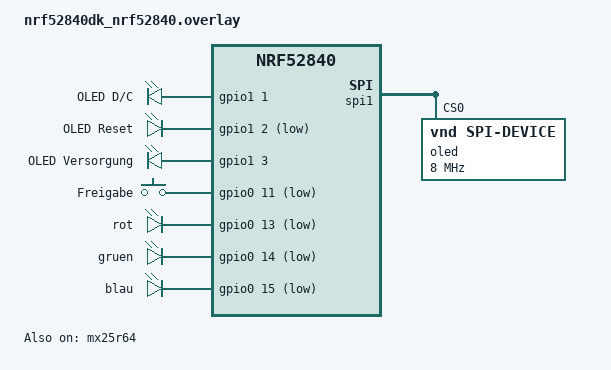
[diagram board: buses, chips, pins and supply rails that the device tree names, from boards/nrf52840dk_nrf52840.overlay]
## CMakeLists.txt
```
# Zephyr-Anwendung der Firmware. Gebaut wird sie ueber tools/build.py,
# nicht von Hand - dort kommt auch OSK_VERSION herein (siehe docs/build.md).
cmake_minimum_required(VERSION 3.20.0)

# --- Versionen: zwei Dateien, ein Name -----------------------------------
#
# Zephyr liest von sich aus eine Datei namens VERSION im Anwendungsordner
# und erwartet darin SEIN Format (VERSION_MAJOR = 0 ...). Unsere
# apps/firmware/VERSION ist die des Projekts ("0.0.1.0", siehe version.md)
# und gehoert tools/set_version.py - sie wird nicht umgeschrieben.
#
# Also schreiben wir Zephyr seine Fassung in den Bauordner und nennen ihm
# beide Dateien ausdruecklich. Beide Listen muessen gleich lang sein:
# Zephyr laeuft sie paarweise ab, und ein Paar ohne Partner laeuft in die
# Meldung "VERSION_MAJOR must be present" - mit leerer Klammer dahinter.
file(TO_CMAKE_PATH "$ENV{ZEPHYR_BASE}" OSK_ZEPHYR_BASE)

# Die Version wird in BEIDEN Schreibweisen gelesen: "0.0.1.0" (so steht
# sie heute da, siehe version.md) und Zephyrs "VERSION_MAJOR = 0 ...".
# Grund: Zephyr liest dieselbe Datei auch als Kconfig-Datei
# (Kconfig.zephyr, osource auf den Anwendungsordner - fest verdrahtet,
# kein Schalter davor). Welche Schreibweise im Repo gilt, entscheidet das
# Projekt; der Bau laeuft mit beiden.
file(READ ${CMAKE_CURRENT_SOURCE_DIR}/VERSION OSK_VERSION_RAW)
string(STRIP "${OSK_VERSION_RAW}" OSK_VERSION_RAW)

if(OSK_VERSION_RAW MATCHES "^([0-9]+)\.([0-9]+)\.([0-9]+)\.([0-9]+)$")
  set(OSK_V_MAJOR ${CMAKE_MATCH_1})
  set(OSK_V_MINOR ${CMAKE_MATCH_2})
  set(OSK_V_PATCH ${CMAKE_MATCH_3})
  set(OSK_V_TWEAK ${CMAKE_MATCH_4})
elseif(OSK_VERSION_RAW MATCHES "VERSION_MAJOR[ 	]*=[ 	]*([0-9]+)")
  set(OSK_V_MAJOR ${CMAKE_MATCH_1})
  string(REGEX MATCH "VERSION_MINOR[ 	]*=[ 	]*([0-9]+)" _ "${OSK_VERSION_RAW}")
  set(OSK_V_MINOR ${CMAKE_MATCH_1})
  string(REGEX MATCH "PATCHLEVEL[ 	]*=[ 	]*([0-9]+)" _ "${OSK_VERSION_RAW}")
  set(OSK_V_PATCH ${CMAKE_MATCH_1})
  string(REGEX MATCH "VERSION_TWEAK[ 	]*=[ 	]*([0-9]+)" _ "${OSK_VERSION_RAW}")
  set(OSK_V_TWEAK ${CMAKE_MATCH_1})
else()
  message(FATAL_ERROR "apps/firmware/VERSION ist in keiner der beiden Schreibweisen lesbar: '${OSK_VERSION_RAW}'")
endif()
set(OSK_VERSION_RAW "${OSK_V_MAJOR}.${OSK_V_MINOR}.${OSK_V_PATCH}.${OSK_V_TWEAK}")

set(OSK_APP_VERSION_FILE ${CMAKE_CURRENT_BINARY_DIR}/zephyr_app_version)
file(WRITE ${OSK_APP_VERSION_FILE}
     "VERSION_MAJOR = ${OSK_V_MAJOR}\nVERSION_MINOR = ${OSK_V_MINOR}\n"
     "PATCHLEVEL = ${OSK_V_PATCH}\nVERSION_TWEAK = ${OSK_V_TWEAK}\nEXTRAVERSION =\n")

# Warum CACHE, und nicht einfach set(): Das SDK leiht sich diese beiden
# Listen fuer seine EIGENE Version (NcsConfig.cmake liest nrf/VERSION) und
# raeumt sie danach mit set(VERSION_TYPE) wieder weg. Ein gewoehnliches
# set() von uns ist an dieser Stelle schon geloescht; Zephyr findet die
# Listen leer vor, leitet sie selbst her - und landet wieder bei unserer
# apps/firmware/VERSION. Ein Eintrag im Zwischenspeicher ueberlebt das
# Wegraeumen, weil set() ohne Wert nur die gewoehnliche Fassung entfernt.
# Gemessen am 24.10.2026 mit variable_watch.
set(VERSION_TYPE "KERNEL;APP" CACHE INTERNAL "Versionsarten fuer Zephyr")
set(VERSION_FILE "${OSK_ZEPHYR_BASE}/VERSION;${OSK_APP_VERSION_FILE}" CACHE INTERNAL "Versionsdateien fuer Zephyr")

# Die Weiche prueft sich selbst, statt in die Meldung von oben zu laufen.
message(STATUS "osk: VERSION_TYPE=${VERSION_TYPE}")
message(STATUS "osk: VERSION_FILE=${VERSION_FILE}")
foreach(f IN LISTS VERSION_FILE)
  if(NOT EXISTS ${f})
    message(FATAL_ERROR "Versionsdatei fehlt: ${f} (ZEPHYR_BASE=$ENV{ZEPHYR_BASE})")
  endif()
endforeach()

# --- Signierter Bootloader, zwei Plaetze, zwei Fassungen -------------------
#
# Die drei Zeilen, die apps/firmware/boot/app_update.conf und
# boot/mcuboot.conf beim Bau-Strang ANGEFORDERT haben, stehen hier. Sie
# muessen VOR find_package(Zephyr) stehen: danach ist die Aufteilung der
# Partitionen schon gelesen und ein Kind-Abbild schon eingerichtet.
#
# UNGEPRUEFT: Auf diesem Rechner ist kein nRF Connect SDK. Dieser Block ist
# geschrieben, nicht uebersetzt - siehe docs/signatur.md, "Was geprueft ist
# und was nicht".

# (1) Die feste Aufteilung der Speicher. Ohne sie legt das SDK den zweiten
#     Platz selbst ins INTERNE Flash - dann passt er nicht, und der Tresor
#     waere in Gefahr (boot/pm_static.yml sagt, warum die Reihenfolge nicht
#     verhandelbar ist).
set(PM_STATIC_YML_FILE ${CMAKE_CURRENT_SOURCE_DIR}/boot/pm_static.yml
    CACHE FILEPATH "Feste Aufteilung der Speicher" FORCE)

# (2) Die Einstellungen von MCUboot als Kind-Abbild.
#     Der Name dieser Variablen hat sich zwischen den SDK-Fassungen geaendert
#     (mcuboot_EXTRA_CONF_FILE, frueher mcuboot_OVERLAY_CONFIG). Es werden
#     beide gesetzt: die Fassung, die das SDK nicht kennt, bleibt einfach
#     liegen - eine unbekannte CMake-Variable ist kein Fehler. Verlassen darf
#     man sich darauf nicht, darum sagt der erste echte Bau, welche greift.
set(OSK_MCUBOOT_CONF ${CMAKE_CURRENT_SOURCE_DIR}/boot/mcuboot.conf)
set(mcuboot_EXTRA_CONF_FILE ${OSK_MCUBOOT_CONF} CACHE STRING "MCUboot-Einstellungen" FORCE)
set(mcuboot_OVERLAY_CONFIG ${OSK_MCUBOOT_CONF} CACHE STRING "MCUboot-Einstellungen (alt)" FORCE)

# (3) Der Pfad des MCUboot-Schluessels - von AUSSEN, nie aus dem Repo.
#
# DAS IST DIE ZEILE, DEREN FEHLEN DAS ENDE DER GANZEN ABSICHERUNG WAERE:
# Ohne CONFIG_BOOT_SIGNATURE_KEY_FILE nimmt MCUboot seinen EIGENEN
# Beispielschluessel, und der ist oeffentlich bekannt. Ein Geraet, das damit
# gebaut ist, nimmt Firmware von jedem an, der die Datei aus dem Netz laedt.
# Es gibt dafuer keine Warnung - der Bau wird gruen.
#
# Darum: kein Schluessel, kein Bau. Lieber kein Abbild als ein Abbild, das
# so aussieht wie ein unterschriebenes.
if(NOT DEFINED OSK_MCUBOOT_KEY)
  set(OSK_MCUBOOT_KEY "$ENV{OSK_MCUBOOT_KEY}")
endif()
if(OSK_MESSBAU)
  # Der Messbau ist ausdruecklich kein Abbild fuer ein Geraet (siehe weiter
  # unten: sechs Platzhalter sind dabei). Er darf darum ohne Schluessel
  # laufen - und sagt es auch.
  message(WARNING "osk: MESSBAU ohne Signaturschluessel - das Ergebnis ist eine Groesse, kein Abbild")
elseif(NOT OSK_MCUBOOT_KEY)
  message(FATAL_ERROR
    "Kein MCUboot-Signaturschluessel.\n"
    "Ohne ihn baut MCUboot mit seinem eigenen BEISPIELSCHLUESSEL, und der ist\n"
    "oeffentlich bekannt: das Geraet nimmt dann Firmware von jedem an. Der Bau\n"
    "bricht hier ab, weil er sonst gruen wuerde.\n\n"
    "Setzen (PowerShell, Pfad AUSSERHALB des Projektordners):\n"
    "  $env:OSK_MCUBOOT_KEY = \"$env:USERPROFILE\\.osk-keys\\mcuboot-ed25519.pem\"\n\n"
    "Siehe docs/signatur.md.")
else()
  get_filename_component(OSK_MCUBOOT_KEY "${OSK_MCUBOOT_KEY}" ABSOLUTE)
  if(NOT EXISTS "${OSK_MCUBOOT_KEY}")
    message(FATAL_ERROR "Der MCUboot-Schluessel steht in OSK_MCUBOOT_KEY, liegt aber nicht da: "
                        "${OSK_MCUBOOT_KEY}")
  endif()
  # Dieselbe Regel wie in tools/sign.py: nicht im Projektordner, auch nicht
  # ausdruecklich. Ein Schluessel, der einmal in einem Commit steckt, ist aus
  # der Geschichte nicht mehr herauszuholen.
  get_filename_component(OSK_REPO_ROOT ${CMAKE_CURRENT_SOURCE_DIR}/../.. ABSOLUTE)
  string(FIND "${OSK_MCUBOOT_KEY}" "${OSK_REPO_ROOT}" OSK_KEY_INSIDE)
  if(OSK_KEY_INSIDE EQUAL 0)
    message(FATAL_ERROR
      "Der MCUboot-Schluessel liegt IM Projektordner: ${OSK_MCUBOOT_KEY}\n"
      "Er gehoert ausserhalb. Verschieben, nicht nur in .gitignore eintragen -\n"
      "ignoriert ist nicht weg (tools/keyguard.py sieht beides).")
  endif()
  set(mcuboot_CONFIG_BOOT_SIGNATURE_KEY_FILE "\"${OSK_MCUBOOT_KEY}\""
      CACHE STRING "MCUboot-Signaturschluessel" FORCE)
  # Der Pfad selbst wird NICHT protokolliert: Bauprotokolle wandern in
  # Fehlerberichte, und der Pfad verraet, wo der Schluessel liegt.
  message(STATUS "osk: MCUboot-Schluessel von aussen uebernommen")
endif()

# Die Fassung (mit oder ohne RSA) gehoert in den ABBILDKOPF, nicht nur in den
# Dateinamen: ein Dateiname ist umbenannt, bevor man zweimal hinsieht. Der
# AAGUID wandert als GESCHUETZTES TLV in den MCUboot-Kopf - geschuetzt heisst,
# von der Signatur gedeckt, also nicht austauschbar, ohne die Signatur zu
# brechen. Welcher Wert gilt, entscheidet nicht diese Datei: tools/variant.py
# liest ihn aus osk_ctap_core.c, wo ihn auch der Quelltext liest. Geprueft
# wird das fertige Abbild mit
#   python tools/variant.py --check <abbild> --expect <rsa|norsa>
if(OSK_AAGUID_TLV)
  set(mcuboot_CONFIG_MCUBOOT_EXTRA_IMGTOOL_ARGS
      "--custom-tlv 0x00a1 ${OSK_AAGUID_TLV}"
      CACHE STRING "AAGUID im Abbildkopf" FORCE)
  message(STATUS "osk: AAGUID als geschuetztes TLV 0x00a1 im Abbildkopf")
endif()

find_package(Zephyr REQUIRED HINTS $ENV{ZEPHYR_BASE})
project(opensecurekey C)

# Version: build.py gibt sie als -DOSK_VERSION mit; ohne das steht hier,
# was in apps/firmware/VERSION steht, damit ein Bau von Hand nicht luegt.
if(NOT OSK_VERSION)
  set(OSK_VERSION ${OSK_VERSION_RAW})
endif()

# OSK_TARGET_DEVICE schaltet in den Quellen den Geraeteweg frei,
# OSK_CRYPTO_PSA den Krypto-Unterbau ueber PSA (statt CNG oder OpenSSL
# aus dem Pruefbau am PC).
target_compile_definitions(app PRIVATE
  OSK_TARGET_DEVICE
  OSK_CRYPTO_PSA
  OSK_VERSION="${OSK_VERSION}"
)

# Suchpfade aus dem Baum, nicht aus einer Liste von Hand: jeder Ordner
# unter src/, in dem ein Kopf liegt, kommt hinein. Eine Liste von Hand
# vergisst den naechsten Unterordner (genau wie das Dateimuster weiter
# unten), und das faellt erst am Uebersetzer auf.
file(GLOB_RECURSE OSK_HEADERS ${CMAKE_CURRENT_SOURCE_DIR}/src/*.h)
set(OSK_INCLUDE_DIRS ${CMAKE_CURRENT_SOURCE_DIR}/include)
foreach(h IN LISTS OSK_HEADERS)
  get_filename_component(d "${h}" DIRECTORY)
  list(APPEND OSK_INCLUDE_DIRS "${d}")
endforeach()
list(REMOVE_DUPLICATES OSK_INCLUDE_DIRS)
list(LENGTH OSK_INCLUDE_DIRS OSK_INCLUDE_COUNT)
message(STATUS "osk: ${OSK_INCLUDE_COUNT} Suchpfade")

target_include_directories(app PRIVATE ${OSK_INCLUDE_DIRS})

# Alle sieben Teile. Die plattformabhaengigen Dateien tragen eigene
# Weichen (#ifdef OSK_TARGET_DEVICE, _WIN32, __ZEPHYR__) und uebersetzen
# sich hier zu nichts, wenn sie nicht gemeint sind - darum wird nichts
# von Hand ausgesiebt.
# GLOB_RECURSE, nicht GLOB: Teile legen Unterordner an (etwa
# src/classes/applets/guard/). Eine Ebene allein uebersieht die - und das
# faellt nicht auf, denn der Bau wird gruen und das Abbild nur zu klein.
# Genau dann luegt die gemessene Groesse.
file(GLOB_RECURSE OSK_SOURCES
  ${CMAKE_CURRENT_SOURCE_DIR}/src/classes/*.c
  ${CMAKE_CURRENT_SOURCE_DIR}/src/views/*.c
)
# Gezaehlt wird, was WIRKLICH uebersetzt wird - also samt der beiden
# Dateien direkt unter src/, die das Muster nicht fasst. Eine Zahl, die
# kleiner ist als der Bau, waere genau die irreführende Angabe, die eine
# zu kleine Groesse glaubwuerdig macht.
set(OSK_ALL_SOURCES src/main.c src/osk_mem.c ${OSK_SOURCES})
list(LENGTH OSK_ALL_SOURCES OSK_SOURCE_COUNT)
message(STATUS "osk: ${OSK_SOURCE_COUNT} Quelldateien")
# src/main.c und src/osk_mem.c liegen direkt unter src/ und damit
# ausserhalb des Musters oben - darum stehen sie in OSK_ALL_SOURCES
# ausdruecklich. osk_mem.c gehoert keinem Teil, sondern allen
# (include/osk_mem.h sagt, warum).
target_sources(app PRIVATE ${OSK_ALL_SOURCES})

# Messbau: nur mit -DOSK_MESSBAU=y. Dann kommen sechs Platzhalter dazu,
# damit der Binder durchkommt und eine Groesse herauskommt. Ohne den
# Schalter uebersetzt sich src/messbau.c zu nichts, und das Binden bricht
# an den sechs fehlenden Namen ab - so, wie es soll (src/messbau.c sagt,
# warum). Ein gewoehnlicher Bau meldet die Luecken also weiter.
if(OSK_MESSBAU)
  message(WARNING "osk: MESSBAU - sechs Platzhalter sind dabei, das Abbild gehoert in kein Geraet")
  target_compile_definitions(app PRIVATE OSK_MESSBAU)
  target_sources(app PRIVATE src/messbau.c)

  # Zwei Namen sind doppelt vergeben (osk_wipe, osk_apdu_parse - siehe
  # docs/build.md). Fuer die MESSUNG laesst der Binder das durchgehen,
  # damit eine Groesse herauskommt; behoben ist damit nichts, und welche
  # der beiden Fassungen jeweils gewinnt, ist dem Zufall der Bauordnung
  # ueberlassen. Darum NUR hier und nie im gewoehnlichen Bau.
  # zephyr_link_libraries, NICHT target_link_options(app): das letzte
  # Binden macht Zephyr selbst (Ziel zephyr_pre0), nicht die Bibliothek
  # "app". Eine Option an "app" steht in der Binde-Befehlszeile gar nicht
  # drin - gemessen am 24.10.2026.
  zephyr_link_libraries(-Wl,--allow-multiple-definition)
endif()
```

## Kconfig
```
# Eigene Einstellungen der Firmware. Zephyr liest diese Datei von selbst
# (Kconfig.zephyr sucht im Anwendungsordner nach "Kconfig"), darum steht in
# apps/firmware/CMakeLists.txt keine Zeile dafuer.
#
# Hier steht die Option, die die ZWEI FASSUNGEN der Firmware trennt. Bis
# zum 30.10.2026 war sie nirgends deklariert: der Quelltext fragte
# CONFIG_OSK_RSA an sechs Stellen ab, aber Kconfig kannte den Namen nicht -
# ein "CONFIG_OSK_RSA=y" in einer .conf-Datei haette Zephyr still verworfen
# (nur eine Warnung, siehe prj.conf) und JEDER Bau waere die Fassung ohne
# RSA geworden. Die Fassung mit RSA war damit nicht gebaut, sondern nur
# geschrieben.

mainmenu "openSecureKey"

config OSK_RSA
	bool "RSA mitbauen (zweite Firmware-Fassung)"
	default n
	help
	  Zwei Fassungen der Firmware, mit und ohne RSA. Die Option wirkt an
	  GENAU EINER Stelle im Quelltext: osk_rsa_available() antwortet ohne
	  sie immer false (src/classes/applets/osk_rsa_card.h sagt, warum).

	  Zwei Folgen, die keine Geschmacksfrage sind:

	  - Jede Fassung hat ihren EIGENEN AAGUID. FIDO verlangt, dass ein
	    AAGUID eine Fassung mit denselben Faehigkeiten bezeichnet, und die
	    Fassung mit RSA kann mehr als die ohne. Die beiden Werte stehen an
	    einer Stelle: src/classes/ctap/osk_ctap_core.c.
	  - Die Fassung gehoert in den DATEINAMEN und in den ABBILDKOPF.
	    Sonst spielt jemand die falsche auf, und das Geraet verspricht
	    Faehigkeiten, die es nicht hat. Beides macht tools/build.py,
	    geprueft wird es von tools/variant.py.

	  Nicht von Hand setzen, sondern ueber die Fassung waehlen:
	    python tools/build.py firmware --variant rsa
	    python tools/build.py firmware --variant norsa

	  Der Chip muss es ausserdem koennen: der SE051A2 kann RSA nicht, der
	  C2 kann es. "Gebaut" und "im Chip vorhanden" sind zwei Fragen, und
	  beide muessen ja sagen.

source "Kconfig.zephyr"
```

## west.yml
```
# Was die Firmware zum Bauen braucht: das nRF Connect SDK und alles, was
# daran haengt (Zephyr, PSA-Krypto, die Treiber fuer den nRF52840).
#
# Diese Datei beschreibt den Arbeitsbereich, nicht den Bau. Angelegt wird
# er einmal, ausserhalb des Repos (docs/build.md):
#
#   west init -m https://github.com/nrfconnect/sdk-nrf --mr v3.4.1 D:\ncs
#   cd D:\ncs && west update
#
# Die Firmware selbst wird dann als Anwendung in diesen Arbeitsbereich
# hineingebaut - das Repo bleibt, wo es ist.
manifest:
  version: "0.13"

  remotes:
    - name: nrfconnect
      url-base: https://github.com/nrfconnect

  projects:
    - name: sdk-nrf
      remote: nrfconnect
      revision: v3.4.1
      import: true

  self:
    path: opensecurekey
```

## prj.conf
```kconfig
# Einstellungen der Firmware fuer das nRF52840-Brett.
# Nur was die Quellen wirklich brauchen - jede Zeile, die hier steht,
# kostet Flash, und der Flash ist das Enge am nRF52840 (docs/architecture.md).

CONFIG_MAIN_STACK_SIZE=8192
CONFIG_HEAP_MEM_POOL_SIZE=16384

# Protokoll ueber die Debug-Leitung. Am Geraet spaeter aus, hier an,
# damit der erste Lauf etwas sagt.
CONFIG_LOG=y
CONFIG_LOG_MODE_MINIMAL=y
CONFIG_CONSOLE=y
CONFIG_SERIAL=y
CONFIG_UART_CONSOLE=y

# Krypto: alles ueber PSA, nichts selbst gerechnet
# (src/classes/store/osk_crypto_psa.c, src/classes/se050/se050_crypto_psa.c).
# Der eine Schalter, der die Krypto anmacht: PSA_CRYPTO ("PSA Crypto API").
# Daran haengt die Wahl des Anbieters, auf einem Nordic-ARM von selbst
# PSA_CRYPTO_PROVIDER_CUSTOM, und daran NRF_SECURITY.
#
# CONFIG_NRF_SECURITY wird NICHT gesetzt: es laesst sich nicht setzen
# (def_bool). Wer es trotzdem hinschreibt, bekommt "is assigned in a
# configuration file, but is not directly user-configurable" - gemessen
# am 24.10.2026.
#
# Und ohne PSA_CRYPTO ist der ganze Abschnitt unter "if NRF_SECURITY" gar
# nicht da: die PSA_WANT_*-Zeilen darunter werden dann still verworfen
# ("was assigned the value 'y' but got the value 'n'" - nur eine Warnung,
# kein Fehler), und der Bau scheitert erst viel spaeter am fehlenden
# psa/crypto.h. 21 verworfene Zeilen, zwei Fehler am Ende.
CONFIG_PSA_CRYPTO=y

CONFIG_PSA_WANT_ALG_SHA_1=y
CONFIG_PSA_WANT_ALG_SHA_256=y
CONFIG_PSA_WANT_ALG_SHA_512=y
CONFIG_PSA_WANT_ALG_GCM=y
CONFIG_PSA_WANT_ALG_CCM=y
CONFIG_PSA_WANT_ALG_CBC_NO_PADDING=y
CONFIG_PSA_WANT_ALG_ECB_NO_PADDING=y
CONFIG_PSA_WANT_ALG_CMAC=y
CONFIG_PSA_WANT_ALG_HMAC=y
CONFIG_PSA_WANT_ALG_HKDF=y
CONFIG_PSA_WANT_ALG_ECDSA=y
CONFIG_PSA_WANT_ALG_DETERMINISTIC_ECDSA=y
CONFIG_PSA_WANT_ALG_ECDH=y
CONFIG_PSA_WANT_ALG_PURE_EDDSA=y
CONFIG_PSA_WANT_ECC_SECP_R1_256=y
CONFIG_PSA_WANT_ECC_SECP_R1_384=y
CONFIG_PSA_WANT_ECC_SECP_K1_256=y
CONFIG_PSA_WANT_ECC_TWISTED_EDWARDS_255=y
CONFIG_PSA_WANT_ECC_MONTGOMERY_255=y
CONFIG_PSA_WANT_KEY_TYPE_AES=y
CONFIG_PSA_WANT_KEY_TYPE_ECC_KEY_PAIR_GENERATE=y
CONFIG_PSA_WANT_KEY_TYPE_ECC_KEY_PAIR_IMPORT=y
CONFIG_PSA_WANT_KEY_TYPE_ECC_KEY_PAIR_EXPORT=y
CONFIG_PSA_WANT_KEY_TYPE_ECC_KEY_PAIR_DERIVE=y
CONFIG_PSA_WANT_KEY_TYPE_ECC_PUBLIC_KEY=y
CONFIG_PSA_WANT_GENERATE_RANDOM=y

# Anzeige (SSD1306 ueber SPI) und Taster.
CONFIG_GPIO=y
CONFIG_SPI=y

# Tresor im aeusseren Flash (src/classes/store/osk_flash_qspi.c).
CONFIG_FLASH=y
CONFIG_FLASH_MAP=y
CONFIG_FLASH_PAGE_LAYOUT=y
CONFIG_NORDIC_QSPI_NOR=y
CONFIG_NORDIC_QSPI_NOR_FLASH_LAYOUT_PAGE_SIZE=4096
```

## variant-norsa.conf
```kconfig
# Fassung OHNE RSA. Eingebunden ueber: tools/build.py firmware --variant norsa
#
# Die Zeile steht hier AUSDRUECKLICH, obwohl n auch die Vorgabe der Option
# ist (apps/firmware/Kconfig). Grund: eine Fassung, die nur durch das
# Weglassen einer Zeile entsteht, ist von einem Versehen nicht zu
# unterscheiden. So steht in beiden Baudateien, welche Fassung gemeint ist,
# und tools/variant.py kann es nachlesen, statt es aus dem Fehlen zu
# schliessen.
#
# Diese Fassung bekommt den AAGUID, der auf 0x02 endet
# (src/classes/ctap/osk_ctap_core.c).
#
# UNGEPRUEFT: ohne nRF Connect SDK ist diese Fassung nicht gebaut.

CONFIG_OSK_RSA=n
```

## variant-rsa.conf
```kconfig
# Fassung MIT RSA. Eingebunden ueber: tools/build.py firmware --variant rsa
#
# Diese Fassung bekommt den AAGUID, der auf 0x01 endet
# (src/classes/ctap/osk_ctap_core.c). Welcher, entscheidet nicht diese
# Datei, sondern die Option darunter - der Quelltext liest sie.
#
# UNGEPRUEFT: ohne nRF Connect SDK ist diese Fassung nicht gebaut.

CONFIG_OSK_RSA=y

# RSA rechnet der SE050, nicht der nRF52840 - darum stehen hier keine
# PSA_WANT_ALG_RSA_*-Zeilen. Wer sie setzt, holt die Mathematik in den
# Flash, in dem der Platz fehlt, und rechnet sie am falschen Ort: der
# private Schluessel darf den Chip nie verlassen.
```

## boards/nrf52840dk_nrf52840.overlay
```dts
/* Was auf dem Entwicklungsbrett wo haengt.
 *
 * Das echte Geraet bekommt spaeter sein eigenes Brett; hier wird nur
 * verdrahtet, was die Quellen namentlich verlangen, damit die Firmware
 * uebersetzt und sich messen laesst:
 *
 *   oled, oled_dc, oled_res, oled_pwr   src/classes/ui/osk_ui_port_nrf.c
 *   osk_button, osk_led_red/green/blue  dieselbe Datei
 *   vault_partition                     src/classes/store/osk_flash_qspi.c
 *
 * Die Anzeige ist auf dem Brett nicht angeloetet - die Pins sind frei
 * gewaehlt und am Stiftfeld P1 herausgefuehrt. Taster und LEDs nehmen die,
 * die das Brett selbst hat. Nichts davon ist am Geraet geprueft.
 */

/ {
	/* Die drei Steuerleitungen der Anzeige. Eigene Knoten, weil der
	 * Treiber in diesem Projekt selbst geschrieben ist (osk_ssd1306.c)
	 * und nicht der aus Zephyr. */
	osk-display {
		compatible = "gpio-leds";

		oled_dc: dc {
			gpios = <&gpio1 1 GPIO_ACTIVE_HIGH>;
			label = "OLED D/C";
		};

		oled_res: res {
			gpios = <&gpio1 2 GPIO_ACTIVE_LOW>;
			label = "OLED Reset";
		};

		oled_pwr: pwr {
			gpios = <&gpio1 3 GPIO_ACTIVE_HIGH>;
			label = "OLED Versorgung";
		};
	};

	/* Taster und LED des Bretts: Button 1 und LED 1 bis 3. */
	osk-controls {
		compatible = "gpio-keys";

		osk_button: taster {
			gpios = <&gpio0 11 (GPIO_PULL_UP | GPIO_ACTIVE_LOW)>;
			label = "Freigabe";
		};
	};

	osk-leds {
		compatible = "gpio-leds";

		osk_led_red: rot {
			gpios = <&gpio0 13 GPIO_ACTIVE_LOW>;
			label = "rot";
		};

		osk_led_green: gruen {
			gpios = <&gpio0 14 GPIO_ACTIVE_LOW>;
			label = "gruen";
		};

		osk_led_blue: blau {
			gpios = <&gpio0 15 GPIO_ACTIVE_LOW>;
			label = "blau";
		};
	};
};

/* Die Anzeige haengt am SPI, das das Brett schon verdrahtet hat. */
&spi1 {
	status = "okay";

	oled: oled@0 {
		compatible = "vnd,spi-device";
		reg = <0>;
		spi-max-frequency = <8000000>;
	};
};

/* Der Tresor liegt im aeusseren Flash, nicht im Chip - deshalb bleiben
 * dem Abbild die rund 960 kB im Chip (docs/architecture.md). Der Platz
 * dahinter ist fuer das Ersatzabbild des Bootladers gedacht.
 */
&mx25r64 {
	status = "okay";

	partitions {
		compatible = "fixed-partitions";
		#address-cells = <1>;
		#size-cells = <1>;

		vault_partition: partition@0 {
			label = "vault";
			reg = <0x00000000 0x00400000>;
		};
	};
};
```

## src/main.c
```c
/* Einstieg der Firmware auf dem nRF52840.
 *
 * Das ist das Geruest, nicht das Geraet. Es geht beim Start EINMAL durch
 * alle sieben Teile - se050, store, ctap, applets, transport, ui, wallet -
 * und schreibt, was jeder gemeldet hat. Mehr tut es nicht: es gibt noch
 * keine Hardware, und ohne Chip kann der halbe Weg gar nicht gelingen.
 *
 * Wozu es dann gut ist: so wird jeder Teil wirklich uebersetzt UND
 * gebunden. Ein Teil, den niemand aufruft, wirft der Binder weg - und dann
 * sagt die gemessene Groesse des Abbilds nichts aus (docs/build.md).
 *
 * Was jeder Teil hier meldet, ist noch kein Urteil ueber ihn: OSK_ERR_IO
 * vom SE050 ist am Brett ohne Chip das richtige Ergebnis.
 */

#include <zephyr/kernel.h>
#include <zephyr/logging/log.h>

#include "osk_result.h"
#include "osk_se050.h"
#include "osk_commission.h"
#include "osk_store.h"
#include "osk_ctap.h"
#include "osk_transport.h"
#include "osk_ui.h"

#include "osk_applets.h"
#include "osk_ui_port.h"
#include "wallet_bip39.h"

LOG_MODULE_REGISTER(osk, LOG_LEVEL_INF);

#ifndef OSK_VERSION
#define OSK_VERSION "unbekannt"
#endif

/* Ein Schritt des Durchlaufs: Name und was er gemeldet hat. */
static void step(const char *name, osk_result_t r)
{
	if (r == OSK_OK) {
		LOG_INF("%s: ok", name);
	} else {
		LOG_WRN("%s: %s", name, osk_result_text(r));
	}
}

/* Der Taster und die Benutzerpruefung haengen am Brett. Bis es da ist,
 * meldet die Pruefung "nicht geprueft" - osk_ui_confirm() verlangt dann
 * den Tastendruck, so wie gedacht. */
static bool not_verified(void *ctx)
{
	ARG_UNUSED(ctx);
	return false;
}

/* --- Erstlauf ------------------------------------------------------------
 *
 * Als ERSTES, vor allem anderen: die Werksschluessel des Sicherheitschips
 * stehen im Klartext in NXP AN12973 Tabelle 6. Wer sie kennt, liest den
 * I2C-Verkehr zum Chip mit und kann ihn stellen - dann ist der zweite Chip
 * wertlos. Darum wird vor dem ersten Gebrauch getauscht
 * (include/osk_commission.h, docs/erstlauf.md).
 *
 * Es stand nur das Werkzeug da und niemand rief es. Hier wird es gerufen.
 * Dass es heute OSK_ERR_UNSUPPORTED meldet, ist der ehrliche Stand: der
 * Platinenhaken ist ein Platzhalter (se050_commission_platform.c). */
static osk_result_t walk_commission(void)
{
	const osk_commission_backend_t *be = NULL;
	osk_result_t r = osk_commission_platform_backend(&be);

	if (r != OSK_OK) {
		return r;
	}
	return osk_commission_run(be);
}

/* --- se050 -------------------------------------------------------------- */
static osk_result_t walk_se050(void)
{
	uint32_t curves = 0;
	uint16_t free_bytes = 0;
	osk_result_t r = osk_se050_open();

	if (r != OSK_OK) {
		return r;
	}
	r = osk_se050_curves(&curves);
	if (r == OSK_OK) {
		LOG_INF("se050: Kurven 0x%08x", curves);
		r = osk_se050_free_memory(&free_bytes);
		if (r == OSK_OK) {
			LOG_INF("se050: frei mindestens %u Byte", free_bytes);
		}
	}
	return r;
}

/* --- store -------------------------------------------------------------- */
static osk_result_t walk_store(void)
{
	uint16_t format = 0;
	size_t count = 0;
	osk_result_t r = osk_store_open();

	if (r != OSK_OK) {
		return r;
	}
	if (osk_store_format_version(&format) == OSK_OK) {
		LOG_INF("store: Format %u", format);
	}
	r = osk_store_count(0, &count);
	if (r == OSK_OK) {
		LOG_INF("store: %u Eintraege im Profil 0", (unsigned)count);
	}
	return r;
}

/* --- ctap --------------------------------------------------------------- */
static osk_result_t walk_ctap(void)
{
	size_t creds = 0;
	osk_result_t r =
	    osk_ctap_init(OSK_CTAP_EXT_HMAC_SECRET | OSK_CTAP_EXT_PRF | OSK_CTAP_EXT_LARGE_BLOB |
			  OSK_CTAP_EXT_CRED_PROTECT | OSK_CTAP_EXT_MIN_PIN);

	if (r != OSK_OK) {
		return r;
	}
	r = osk_ctap_cred_count(&creds);
	if (r == OSK_OK) {
		LOG_INF("ctap: %u Dienste", (unsigned)creds);
	}
	return r;
}

/* --- transport ---------------------------------------------------------- */
static osk_result_t walk_transport(void)
{
	/* CTAP laeuft ueber USB-HID und NFC gleich; die Chipkarte kommt
	 * ueber CCID herein. Die Zephyr-Seite dieser Wege ist noch nicht
	 * geschrieben - hier wird nur eingehaengt. */
	osk_result_t r = osk_transport_register(OSK_LINK_USB_HID, osk_ctap_handle);

	if (r != OSK_OK) {
		return r;
	}
	r = osk_transport_register(OSK_LINK_NFC, osk_ctap_handle);
	if (r != OSK_OK) {
		return r;
	}
	r = osk_transport_register(OSK_LINK_USB_CCID, osk_applets_handle);
	if (r != OSK_OK) {
		return r;
	}
	return osk_transport_enable(OSK_LINK_USB_HID, true);
}

/* --- wallet ------------------------------------------------------------- */
static osk_result_t walk_wallet(void)
{
	/* Ein Satz aus 24 Woertern pruefen reicht, um die Geldboerse mit
	 * ihrer Wortliste ins Abbild zu ziehen. Erzeugt wird hier nichts:
	 * ein echter Satz entsteht nur auf Ansage des Nutzers. */
	static const char *const known =
	    "legal winner thank year wave sausage worth useful legal winner thank year "
	    "wave sausage worth useful legal will";

	return osk_bip39_check(known);
}

int main(void)
{
	LOG_INF("opensecurekey %s - Durchlauf durch die sieben Teile", OSK_VERSION);

	step("erstlauf", walk_commission());
	step("se050", walk_se050());
	step("store", walk_store());
	step("ctap", walk_ctap());
	step("applets", osk_applets_init());
	step("transport", walk_transport());
	step("ui", osk_ui_port_nrf_start(not_verified));
	step("wallet", walk_wallet());

	osk_ui_status("status.ready");
	LOG_INF("Durchlauf beendet");

	/* Noch keine Ereignisschleife: die kommt mit den Transporten. */
	while (1) {
		k_sleep(K_SECONDS(10));
	}
	return 0;
}
```

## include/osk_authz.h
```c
/* Rechtebereiche, Zugangsschluessel, Zugangsdaten und Zeitstempel.
 *
 * NEUER VERTRAG, ENTWORFEN VON STRANG F am 29.10.2026 und dem Master
 * gemeldet. Kein vorhandener Vertrag ist dabei geaendert worden.
 *
 * Diese Schicht antwortet auf genau zwei Fragen, und sie beantwortet sie
 * vor jedem Vorgang:
 *
 *   1. WER fragt?     -> Zugangsschluessel (identitaetsbasiert, nicht Rolle)
 *   2. DARF der das?   -> Rechtebereich und Faehigkeit
 *
 * Die zweite Frage stellen heute `applets/`, `ctap/` und `store/` jeder fuer
 * sich oder gar nicht. Die erste stellt heute niemand: es gibt eine PIN, und
 * wer sie kennt, ist dasselbe wie jeder andere, der sie kennt.
 *
 * WARUM DAS EINE BAUAUFGABE IST UND KEINE FORMALIE: FIPS 140-3 verlangt ab
 * Stufe 3 **identitaetsbasierte** Authentifizierung, nicht rollenbasierte
 * (ISO/IEC 19790 Abschnitt 7.4.3). Der Unterschied ist nicht, wie streng
 * geprueft wird, sondern WAS hinterher im Protokoll steht: bei
 * rollenbasierter Pruefung steht dort "ein Verwalter", bei
 * identitaetsbasierter steht dort, welcher. Ohne das ist keine
 * Nachvollziehbarkeit moeglich und der Prueflauf nicht zu bestehen.
 * Nachtraeglich einzieht sich das nicht: jeder Vorgang muss eine Identitaet
 * mitfuehren, und das sind alle Aufrufwege.
 *
 * Umsetzung: src/classes/authz/
 * Befund zur Zeitstempel-Frage: docs/zeitstempel.md
 * Entwurf und Begruendungen: docs/rechtebereiche.md */
#ifndef OSK_AUTHZ_H
#define OSK_AUTHZ_H

#include <stdint.h>
#include <stddef.h>
#include <stdbool.h>
#include "osk_result.h"
#include "osk_se050.h"

/* --- Rechtebereiche -----------------------------------------------------
 *
 * SECHZEHN Bereiche. Ein Schluessel und ein Zugangsschluessel tragen je
 * eine Maske; gearbeitet werden darf, wo sich beide ueberschneiden.
 *
 * WARUM SIE NICHT "DOMAIN" HEISSEN, obwohl der Plan von Rechtebereichen
 * spricht und die Vorlage am Markt sie Domain nennt: das Wort ist in diesem
 * Baum schon zweimal belegt, und zwar fuer etwas voellig anderes -
 * `attest_domain` in applets/guard/osk_guard_msg.c und `domain[32]` in
 * wallet/wallet_eth.c sind Trennzeichenketten der Signatur
 * (Domain Separation), damit eine Unterschrift aus einem Zusammenhang nicht
 * in einem anderen gilt. Zwei Groessen, die gleich heissen und
 * Verschiedenes messen, ist das durchgehende Fehlermuster dieses Projekts
 * (siehe docs/plan.md Abschnitt 6, dort sechsmal aufgezaehlt). Darum
 * `realm`, und darum steht der Grund hier und nicht nur im Commit. */

#define OSK_AUTHZ_REALM_COUNT 16u

/* Maske aus (1u << n), n von 0 bis 15. Eine leere Maske heisst "nirgends",
 * nicht "ueberall" - ein nicht gesetztes Recht ist kein Recht. */
typedef uint16_t osk_realm_mask_t;

#define OSK_REALM(n)	 ((osk_realm_mask_t)(1u << (n)))
#define OSK_REALM_NONE	 ((osk_realm_mask_t)0u)
#define OSK_REALM_ALL	 ((osk_realm_mask_t)0xFFFFu)

/* --- Faehigkeiten -------------------------------------------------------
 *
 * Was ein Zugangsschluessel tun darf. Jede Faehigkeit ist ein Vorgang, den
 * man einzeln wegnehmen kann - der Dienst, der Server-Zertifikate
 * ausstellt, braucht SIGN und nichts weiter.
 *
 * Es gibt KEINE Faehigkeit "alles". Wer alle 16 Bereiche und alle
 * Faehigkeiten haben soll, bekommt sie einzeln eingetragen; eine
 * Sammelfaehigkeit wuerde beim naechsten Hinzufuegen stillschweigend
 * mitwachsen. */
typedef uint32_t osk_cap_mask_t;

#define OSK_CAP_SIGN		 ((osk_cap_mask_t)(1u << 0))  /* unterschreiben */
#define OSK_CAP_DECRYPT		 ((osk_cap_mask_t)(1u << 1))  /* entschluesseln */
#define OSK_CAP_DERIVE		 ((osk_cap_mask_t)(1u << 2))  /* ECDH, HKDF */
#define OSK_CAP_KEY_CREATE	 ((osk_cap_mask_t)(1u << 3))  /* Schluessel anlegen */
#define OSK_CAP_KEY_DELETE	 ((osk_cap_mask_t)(1u << 4))  /* Schluessel loeschen */
#define OSK_CAP_PUBLIC_READ	 ((osk_cap_mask_t)(1u << 5))  /* oeffentlichen Teil lesen */
#define OSK_CAP_COUNTER_RAISE	 ((osk_cap_mask_t)(1u << 6))  /* monotonen Zaehler hochsetzen */
#define OSK_CAP_TIMESTAMP	 ((osk_cap_mask_t)(1u << 7))  /* Zeitstempel anfordern */
#define OSK_CAP_CRED_USE	 ((osk_cap_mask_t)(1u << 8))  /* Zugangsdaten benutzen */
#define OSK_CAP_CRED_MANAGE	 ((osk_cap_mask_t)(1u << 9))  /* Zugangsdaten anlegen/loeschen */
#define OSK_CAP_AUTHZ_MANAGE	 ((osk_cap_mask_t)(1u << 10)) /* Zugangsschluessel verwalten */
#define OSK_CAP_AUDIT_READ	 ((osk_cap_mask_t)(1u << 11)) /* Geraeteprotokoll lesen */
#define OSK_CAP_RANDOM		 ((osk_cap_mask_t)(1u << 12)) /* Zufall aus dem Chip holen */
#define OSK_CAP_WRAP		 ((osk_cap_mask_t)(1u << 13)) /* Schluessel einwickeln */
#define OSK_CAP_UNWRAP		 ((osk_cap_mask_t)(1u << 14)) /* Schluessel auswickeln */
#define OSK_CAP_RESET		 ((osk_cap_mask_t)(1u << 15)) /* Werkszustand */

#define OSK_CAP_NONE		 ((osk_cap_mask_t)0u)

/* Die hoechste belegte Faehigkeit. Masken mit Bits darueber sind ein
 * Fehler des Aufrufers und werden abgewiesen, statt still mitgefuehrt zu
 * werden - sonst traegt ein Zugangsschluessel Rechte, die es noch nicht
 * gibt, und bekommt sie beim naechsten Hinzufuegen geschenkt. */
#define OSK_CAP_DEFINED		 ((osk_cap_mask_t)0xFFFFu)

/* --- Zugangsschluessel --------------------------------------------------
 *
 * Mehrere, mit je eigenen Rechten, statt eines Hauptgeheimnisses. */

#define OSK_AUTHZ_KEY_MAX   8u	/* gleichzeitig eingetragene Zugangsschluessel */
#define OSK_AUTHZ_LABEL_MAX 40u /* Name, ohne abschliessende Null */

#define OSK_AUTHZ_CHALLENGE_LEN 16u /* beide Seiten, je eine */
#define OSK_AUTHZ_PROOF_LEN	32u /* HMAC-SHA256, ungekuerzt */

/* Beschreibung eines Zugangsschluessels, so wie ihn der Verwalter sieht.
 * Das Geheimnis ist NICHT dabei: es liegt im Sicherheitschip und wird nur
 * ueber `secret` angesprochen. */
typedef struct {
	uint16_t id;		     /* vom Verwalter vergeben, 1..65535; 0 ist frei */
	char label[OSK_AUTHZ_LABEL_MAX + 1]; /* mit Null, zum Anzeigen und Protokollieren */
	osk_key_id_t secret;	     /* HMAC-Schluessel im Chip */
	osk_realm_mask_t realms;     /* wo er arbeiten darf */
	osk_cap_mask_t caps;	     /* was er tun darf */
	osk_cap_mask_t delegated;    /* was er WEITERGEBEN darf, wenn er andere anlegt */
	uint8_t max_fail;	     /* 0 heisst: nie sperren */
	bool needs_touch;	     /* Tastendruck je Vorgang */
} osk_authz_key_t;

/* Ein Platz in der Tabelle hat drei Zustaende. `osk_authz_key_info()`
 * meldet ihn, damit "gesperrt" nicht als "nicht vorhanden" erscheint - das
 * sind verschiedene Befunde, und der Verwalter muss sie unterscheiden. */
typedef enum {
	OSK_AUTHZ_FREE,	  /* Platz unbelegt */
	OSK_AUTHZ_ACTIVE, /* eingetragen und benutzbar */
	OSK_AUTHZ_LOCKED, /* zu viele Fehlversuche */
} osk_authz_state_t;

typedef struct {
	osk_authz_state_t state;
	osk_authz_key_t key;
	uint8_t fails;	    /* Fehlversuche seit dem letzten Erfolg */
	uint32_t uses;	    /* erfolgreiche Anmeldungen */
} osk_authz_key_info_t;

/* Schicht anmelden. Ohne das antwortet nichts.
 *
 * `admin_secret` ist der Chip-Schluessel des ersten Zugangsschluessels -
 * des einzigen, der beim Erstlauf existiert. Ohne ihn liesse sich kein
 * erster Verwalter eintragen, und mit einer fest eingebauten Kennung waere
 * jedes Geraet mit demselben Geheimnis zu oeffnen. */
osk_result_t osk_authz_init(osk_key_id_t admin_secret);
void osk_authz_shutdown(void);

/* --- Anmelden: zwei Schritte, und beide sind noetig --------------------
 *
 * Erst die Identitaet nennen, dann sie beweisen. Zwei Aufrufe, weil das
 * Geraet seinen eigenen Zufall beisteuern muss - sonst koennte der Rechner
 * die Herausforderung waehlen und einen alten Beweis wiederverwenden.
 *
 *   1. begin(id, host_challenge, -> device_challenge)
 *   2. der Rechner rechnet:
 *        proof_host = HMAC(K, "osk-authz-host-1" || device_challenge
 *                                               || host_challenge)
 *   3. authenticate(session, proof_host, -> proof_device)
 *        proof_device = HMAC(K, "osk-authz-dev-1" || device_challenge
 *                                                 || host_challenge)
 *
 * Der Beweis des Geraets geht zurueck, damit auch der Rechner weiss, dass
 * er mit dem richtigen Geraet spricht. Einseitig geprueft waere die Haelfte
 * der Arbeit fuer keinen Gewinn: ein untergeschobenes Geraet nimmt die
 * Anmeldung sonst widerspruchslos an.
 *
 * Die beiden Trennzeichenketten unterscheiden sich, damit der Beweis des
 * Rechners nie als Beweis des Geraets durchgeht. */

typedef uint8_t osk_authz_session_t; /* Platznummer, 0..OSK_AUTHZ_SESSION_MAX-1 */

#define OSK_AUTHZ_SESSION_MAX 4u
#define OSK_AUTHZ_NO_SESSION  ((osk_authz_session_t)0xFFu)

osk_result_t osk_authz_session_begin(uint16_t key_id,
				     const uint8_t host_challenge[OSK_AUTHZ_CHALLENGE_LEN],
				     uint8_t device_challenge_out[OSK_AUTHZ_CHALLENGE_LEN],
				     osk_authz_session_t *session_out);

osk_result_t osk_authz_session_authenticate(osk_authz_session_t session,
					    const uint8_t host_proof[OSK_AUTHZ_PROOF_LEN],
					    uint8_t device_proof_out[OSK_AUTHZ_PROOF_LEN]);

void osk_authz_session_end(osk_authz_session_t session);

/* Alle Sitzungen beenden. Beim Abziehen des Sticks und beim Sperren -
 * `docs/plan.md` verlangt sofortiges Sperren beim Abziehen, und eine
 * ueberlebende Sitzung waere genau die Luecke darin. */
void osk_authz_session_end_all(void);

/* --- Die Pruefung, auf die alles hinauslaeuft --------------------------
 *
 * Jeder Vorgang fragt hier, und zwar MIT der Sitzung. Ohne Sitzung gibt es
 * keine Antwort "erlaubt": eine Funktion, die auch ohne Identitaet etwas
 * durchlaesst, macht die ganze Schicht wertlos.
 *
 * Geprueft wird dreierlei, und alles drei muss zutreffen:
 *   - die Sitzung ist angemeldet (nicht nur begonnen),
 *   - der Zugangsschluessel hat die Faehigkeit,
 *   - seine Bereichsmaske ueberschneidet sich mit der des Gegenstands.
 *
 * Die Ueberschneidung ist der Kern der Trennung: der Dienst fuer
 * Server-Zertifikate und die Geldboerse haben keinen gemeinsamen Bereich,
 * also kommt keiner an die Schluessel des anderen - auch wenn beide SIGN
 * duerfen. Die Faehigkeit allein trennt nicht. */
osk_result_t osk_authz_check(osk_authz_session_t session, osk_cap_mask_t need,
			     osk_realm_mask_t object_realms);

/* Wer in dieser Sitzung angemeldet ist - fuer das Geraeteprotokoll.
 * Das ist der Zweck der ganzen Uebung: der Eintrag nennt einen Namen. */
osk_result_t osk_authz_session_identity(osk_authz_session_t session, uint16_t *key_id_out,
					const char **label_out);

/* --- Zugangsschluessel verwalten ---------------------------------------
 *
 * Verwalten darf nur, wer OSK_CAP_AUTHZ_MANAGE hat, und er darf nur
 * weitergeben, was in seiner `delegated`-Maske steht.
 *
 * WARUM ZWEI MASKEN: Ohne die zweite koennte jeder, der Zugangsschluessel
 * anlegen darf, sich einen zweiten mit mehr Rechten anlegen und ueber ihn
 * alles tun. Die Rechtetrennung waere dann eine Hoeflichkeit. Mit der
 * zweiten Maske ist die Rechtemenge eines neuen Schluessels hoechstens die
 * `delegated` seines Erzeugers - und `delegated` selbst kann nicht wachsen. */
osk_result_t osk_authz_key_add(osk_authz_session_t session, const osk_authz_key_t *key);
osk_result_t osk_authz_key_remove(osk_authz_session_t session, uint16_t key_id);
osk_result_t osk_authz_key_info(uint16_t key_id, osk_authz_key_info_t *info_out);
osk_result_t osk_authz_key_list(uint16_t *ids_out, size_t cap, size_t *count_out);

/* Einen gesperrten Zugangsschluessel wieder freigeben. Braucht
 * OSK_CAP_AUTHZ_MANAGE - und der Schluessel kann sich nicht selbst
 * freigeben, denn zum Anmelden muesste er schon frei sein. */
osk_result_t osk_authz_key_unlock(osk_authz_session_t session, uint16_t key_id);

/* --- Zugangsdaten im Sicherheitschip (Teil 3) --------------------------
 *
 * WOFUER: Ein Server, der seinen Schluessel nicht im Dateisystem liegen
 * lassen soll (`docs/plan.md`, "Dongle und Server (NGC)": "Knotenschluessel
 * im Chip statt auf der Platte"). Der Server haelt ein Passwort, das
 * Langzeitgeheimnis liegt im Chip, und heraus kommen nur
 * **Sitzungsschluessel**, die mit dem Abziehen des Sticks wertlos sind.
 *
 * Was den Chip verlaesst und was nicht, ausdruecklich:
 *   - Langzeitgeheimnis: NIE. Es ist ein HMAC-Schluessel im SE05x.
 *   - Sitzungsschluessel: JA, das ist ihr Zweck - der Server verschluesselt
 *     damit. Wer sie abhoert, hat sie bis zum Ende der Sitzung; wer das
 *     Geraet stiehlt, hat trotzdem kein Langzeitgeheimnis.
 *
 * Ableitung: SP 800-108 Zaehlermodus mit HMAC-SHA256 als PRF.
 *
 * ABWEICHUNG, DIE DER MASTER ENTSCHEIDEN MUSS (gemeldet am 29.10.2026): Die
 * Vorlage am Markt leitet mit AES-CMAC nach SCP03 ab. Hier steht
 * HMAC-SHA256, aus zwei Gruenden - der Vertrag `osk_se050.h` fuehrt
 * `osk_se050_hmac()`, aber kein CMAC, und diese Schicht soll kein eigenes
 * Krypto-Grundverfahren mitbringen. Folge: **fremde Programme, die das
 * Protokoll der Vorlage sprechen, passen nicht.** Fuer NGC und `osk-guard`
 * ist das ohne Belang, denn das ist unsere eigene Software auf beiden
 * Seiten. Wer Fremdverträglichkeit will, braucht CMAC im Vertrag. */

#define OSK_AUTHZ_CRED_MAX	8u
#define OSK_AUTHZ_CRED_PW_MIN	8u
#define OSK_AUTHZ_CRED_PW_MAX	64u
#define OSK_AUTHZ_SESSION_KEY_LEN 16u

typedef struct {
	uint16_t id;
	char label[OSK_AUTHZ_LABEL_MAX + 1];
	osk_key_id_t secret;	 /* Langzeitgeheimnis im Chip */
	osk_realm_mask_t realms; /* in welchen Bereichen diese Zugangsdaten gelten */
	uint8_t max_fail;
	bool needs_touch;
} osk_authz_cred_t;

/* Das Paar, das herauskommt. Zwei Schluessel, weil Verschluesseln und
 * Sichern nie derselbe sein duerfen. */
typedef struct {
	uint8_t enc[OSK_AUTHZ_SESSION_KEY_LEN];
	uint8_t mac[OSK_AUTHZ_SESSION_KEY_LEN];
} osk_authz_session_keys_t;

osk_result_t osk_authz_cred_add(osk_authz_session_t session, const osk_authz_cred_t *cred,
				const uint8_t *password, size_t pw_len);
osk_result_t osk_authz_cred_remove(osk_authz_session_t session, uint16_t cred_id);
osk_result_t osk_authz_cred_list(uint16_t *ids_out, size_t cap, size_t *count_out);
osk_result_t osk_authz_cred_tries_left(uint16_t cred_id, uint8_t *tries_out);

/* Sitzungsschluessel holen. Braucht OSK_CAP_CRED_USE und einen Bereich,
 * der sich mit dem der Zugangsdaten ueberschneidet.
 *
 * Falsches Passwort zaehlt einen Fehlversuch und sperrt bei `max_fail` -
 * darum wird das Passwort geprueft und nicht nur in die Ableitung gegeben.
 * Gaebe es nur die Ableitung, kaeme bei falschem Passwort ein falscher
 * Schluessel heraus, und der Versuch waere unbegrenzt wiederholbar. */
osk_result_t osk_authz_cred_session(osk_authz_session_t session, uint16_t cred_id,
				    const uint8_t *password, size_t pw_len,
				    const uint8_t host_challenge[OSK_AUTHZ_CHALLENGE_LEN],
				    const uint8_t device_challenge[OSK_AUTHZ_CHALLENGE_LEN],
				    osk_authz_session_keys_t *keys_out);

/* --- Zeitstempel nach RFC 3161 (Teil 4) --------------------------------
 *
 * BEFUND ZUERST, er bestimmt die Schnittstelle: Das Geraet hat keinen Akku,
 * seine Uhr wird beim Einstecken vom Rechner gestellt, und eine falsche
 * Rechneruhr setzt eine falsche Geraetezeit (`docs/architecture.md`). Ein
 * Zeitstempel aus dieser Uhr beweist genau so viel wie der Rechner, gegen
 * den er beweisen soll.
 *
 * DARUM: **Das Geraet ist Antragsteller, nie Zeitstempelstelle.** Die Zeit
 * kommt aus dem Token einer fremden Stelle. Es gibt hier mit Absicht keine
 * Funktion, die aus der Geraeteuhr einen Zeitstempel macht - haette diese
 * Schicht eine, wuerde irgendwann jemand ihr Ergebnis fuer einen Beweis
 * halten.
 *
 * Was das Geraet ohne jede fremde Stelle beweist, ist die REIHENFOLGE:
 * jede Erklaerung traegt einen monotonen Chipzaehler (Strang A), der sich
 * nicht zurueckdrehen laesst. Das ist kein Ersatz fuer eine Uhrzeit,
 * sondern eine andere, schwaecher klingende und staerker belegte Aussage.
 *
 * Ganze Begruendung samt den drei Beweisarten: docs/zeitstempel.md */

#define OSK_TSA_NONCE_LEN  16u
#define OSK_TSA_HASH_LEN   32u /* SHA-256; die Schicht hasht nicht selbst */

/* Was aus einer geprueften Antwort herauskommt. Die GenTime bleibt
 * Zeichenkette, wie sie im Token steht - sie wird nicht in eine Zahl
 * umgerechnet, damit niemand sie mit der Geraetezeit vermischt. */
#define OSK_TSA_GENTIME_MAX 24u

typedef struct {
	uint8_t nonce[OSK_TSA_NONCE_LEN];
	uint8_t hash[OSK_TSA_HASH_LEN];
	bool nonce_sent;
} osk_tsa_request_t;

typedef struct {
	char gen_time[OSK_TSA_GENTIME_MAX + 1]; /* aus dem Token der Stelle */
	bool gen_time_present;
	uint64_t counter;    /* unser monotoner Zaehlerstand */
	uint32_t device_ms;  /* Geraetezeit SEIT DEM EINSTECKEN - keine Weltzeit */
	uint16_t key_id;     /* wer es anstiess */
} osk_tsa_statement_t;

/* Eine Anfrage nach RFC 3161 Abschnitt 2.4.1 in DER bauen.
 * `hash` ist der Hash der Daten; gehasht hat der Aufrufer, wie bei
 * `osk_se050_sign()` und aus demselben Grund. */
osk_result_t osk_tsa_request_build(osk_authz_session_t session, const uint8_t hash[OSK_TSA_HASH_LEN],
				   bool with_nonce, uint8_t *der_out, size_t cap,
				   size_t *len_out, osk_tsa_request_t *req_out);

/* Eine Antwort pruefen - die FORM, nicht die Signatur.
 *
 * Geprueft werden `status`, der Aufbau, die Laengen, und dass die Nonce die
 * der Anfrage ist. Die Signatur des Tokens prueft das Verwaltungsprogramm
 * am Rechner; dafuer braeuchte die Firmware CMS und eine
 * X.509-Kettenpruefung (offener Punkt, docs/zeitstempel.md Abschnitt 6).
 * Die Funktion heisst darum `_parse` und nicht `_verify`: der Name soll
 * beim Lesen des Aufrufs nicht mehr versprechen, als er tut. */
osk_result_t osk_tsa_response_parse(const osk_tsa_request_t *req, const uint8_t *der, size_t len,
				    osk_tsa_statement_t *stmt_out, const uint8_t **token_out,
				    size_t *token_len_out);

/* Das fremde Token an dieses Geraet binden: eine eigene Erklaerung ueber
 * Datenhash, Tokenhash, Zaehlerstand und Identitaet unterschreiben.
 *
 * Ohne diesen Schritt liegen zwei Papiere nebeneinander, die nichts
 * verbindet. Braucht OSK_CAP_TIMESTAMP und OSK_CAP_SIGN. */
osk_result_t osk_tsa_countersign(osk_authz_session_t session, osk_key_id_t signing_key,
				 osk_key_id_t counter_id, const uint8_t hash[OSK_TSA_HASH_LEN],
				 const uint8_t *token, size_t token_len,
				 osk_tsa_statement_t *stmt_out, uint8_t *sig_out, size_t cap,
				 size_t *sig_len_out);

#endif
```

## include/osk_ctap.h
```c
/* FIDO2/CTAP2-Kern - transportunabhaengig. USB und NFC reichen dieselben
 * Bytes herein; die Freigabe laeuft ueber osk_ui, die Schluessel ueber den
 * SE050, abgeleitet statt einzeln gespeichert.
 *
 * Umsetzung: src/classes/ctap/ */
#ifndef OSK_CTAP_H
#define OSK_CTAP_H

#include <stdint.h>
#include <stddef.h>
#include "osk_result.h"
#include "osk_transport.h"

/* Erweiterungen, die fremde Programme von uns erwarten. */
#define OSK_CTAP_EXT_HMAC_SECRET (1u << 0) /* Bitwarden, BitLocker, LUKS */
#define OSK_CTAP_EXT_PRF (1u << 1)
#define OSK_CTAP_EXT_LARGE_BLOB (1u << 2)
#define OSK_CTAP_EXT_CRED_PROTECT (1u << 3)
#define OSK_CTAP_EXT_MIN_PIN (1u << 4)

osk_result_t osk_ctap_init(uint32_t extensions);

/* Eine vollstaendige CTAP-Nachricht bearbeiten. Der Transport hat den
 * Rahmen bereits entfernt. */
osk_result_t osk_ctap_handle(const osk_request_t *req, osk_response_t *res);

/* CTAP1/U2F fuer alte Dienste, gleiche Schluesselableitung. */
osk_result_t osk_ctap_handle_u2f(const osk_request_t *req, osk_response_t *res);

/* Zaehler fuer das Geraeteprotokoll und die Dienste-Liste im Programm. */
osk_result_t osk_ctap_cred_count(size_t *count_out);

#endif
```

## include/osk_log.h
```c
/* Geraeteprotokoll: wann ging welcher Eintrag an welches Programm.
 * Ringpuffer im Flash, ohne Geheimnisse - nur Kennung, Zeit und Anlass.
 *
 * Umsetzung: src/classes/store/ */
#ifndef OSK_LOG_H
#define OSK_LOG_H

#include <stdint.h>
#include <stddef.h>
#include "osk_result.h"
#include "osk_transport.h"

typedef struct {
	uint64_t when_utc;
	osk_link_t link;
	uint16_t what;	  /* Anlass, siehe shared/protocol.md */
	uint32_t item_id; /* 0 = kein Eintrag beteiligt */
	char asked_by[32];
} osk_log_entry_t;

osk_result_t osk_log_add(const osk_log_entry_t *e);
osk_result_t osk_log_count(size_t *count_out);
osk_result_t osk_log_get(size_t index, osk_log_entry_t *out);
osk_result_t osk_log_clear(void);

/* Prueft die Hash-Kette des Protokolls.
 *
 * Jeder Satz traegt ein Kettenglied auf seinen Vorgaenger: die ersten 16 Byte
 * von dessen Pruefwert. Weil der Pruefwert am Protokollschluessel haengt,
 * kann niemand ohne diesen Schluessel eine Kette neu rechnen - und wer einen
 * einzelnen Satz herausnimmt, laesst das Glied des naechsten ins Leere
 * zeigen.
 *
 * Geprueft wird vom jueengsten Satz rueckwaerts. `checked_out` sagt, ueber
 * wie viele Uebergaenge die Kette gehalten hat; `break_at_out` nennt bei
 * OSK_ERR_FORMAT die Stelle (0 = jueengster Satz).
 *
 * Was NICHT geprueft werden kann: der aelteste noch vorhandene Satz hat
 * keinen Vorgaenger mehr - der Ring hat ihn ueberschrieben. Dort hoert die
 * Kette auf, und das ist das Wesen eines Ringpuffers, kein Befund. Ebenso
 * koennen Saetze aus Fassungen vor 6 nicht geprueft werden; sie haben kein
 * Kettenglied, und die Pruefung endet dort mit OSK_OK. */
osk_result_t osk_log_verify(size_t *checked_out, size_t *break_at_out);

#endif
```

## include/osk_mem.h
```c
/* Puffer sicher leeren - eine Hilfe, die mehrere Teile brauchen.
 *
 * Warum sie hier liegt und nicht bei einem der Teile: osk_wipe() war
 * zweimal geschrieben, in src/classes/ctap/osk_crypto.c und in
 * src/classes/se050/se050_crypto_common.c. Am PC fiel das nie auf, weil
 * dort jeder Teil einzeln gebunden wird; im Abbild des Geraets trafen sich
 * die beiden und das Binden brach ab (gemessen am 24.10.2026).
 *
 * Laege sie jetzt bei einem der beiden, haengte der andere daran - und
 * aufgerufen wird sie auch aus wallet. Darum gemeinsam.
 *
 * Umsetzung: src/osk_mem.c */
#ifndef OSK_MEM_H
#define OSK_MEM_H

#include <stddef.h>

/* Loescht einen Puffer so, dass der Uebersetzer es nicht wegoptimiert.
 * NULL und Laenge 0 sind erlaubt und tun nichts. */
void osk_wipe(void *p, size_t len);

#endif
```

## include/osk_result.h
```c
/* Gemeinsame Rueckgabewerte aller Module.
 * Jede Funktion meldet Erfolg oder Grund des Fehlers - nie nur 0/1. */
#ifndef OSK_RESULT_H
#define OSK_RESULT_H

typedef enum {
	OSK_OK = 0,
	OSK_ERR_ARG, /* Aufrufparameter unbrauchbar */
	OSK_ERR_IO,  /* Leitung, Bus oder Transport gestoert */
	OSK_ERR_TIMEOUT,
	OSK_ERR_DENIED, /* Freigabe fehlt: PIN, Finger oder Taster */
	OSK_ERR_LOCKED, /* Geraet gesperrt, zu viele Fehlversuche */
	OSK_ERR_NOT_FOUND,
	OSK_ERR_EXISTS,
	OSK_ERR_FULL,	/* Speicher im Chip oder Flash erschoepft */
	OSK_ERR_FORMAT, /* Daten entsprechen nicht dem erwarteten Aufbau */
	OSK_ERR_UNSUPPORTED,
	OSK_ERR_INTERNAL,
	/* Zurueckgespielter Zustand: der Flash ist aelter als der monotone
	 * Zaehler im Sicherheitschip. Ein eigener Wert, weil er etwas anderes
	 * heisst als OSK_ERR_FORMAT - die Daten sind in sich voellig gueltig,
	 * sie sind nur alt. Wer die beiden zusammenwirft, meldet dem Nutzer
	 * einen kaputten Tresor, wo ein Angriff vorliegt. */
	OSK_ERR_ROLLBACK,
} osk_result_t;

const char *osk_result_text(osk_result_t r);

#endif
```
